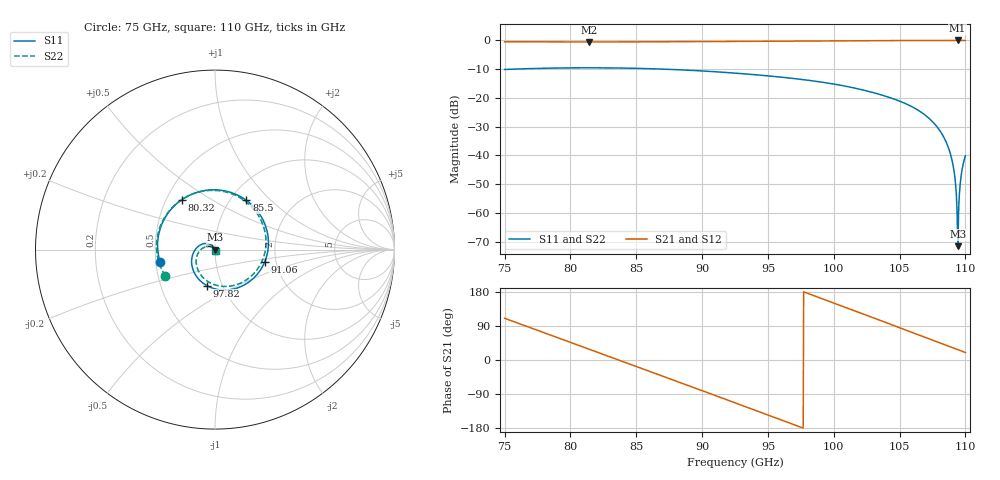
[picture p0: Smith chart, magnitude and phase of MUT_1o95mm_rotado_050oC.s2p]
! TOUCHSTONE file generated by CST MICROWAVE STUDIO
! Date and time: Wed Feb 14 23:05:58 2024
! Project name: material_rotado.cst
! Parameters = {angY=0.5}
! Header version: 2018
! Port assignment regex: !\s*Touchstone port\s*([0-9]+)\s*=\s*(CST MWS port|CST DS port)\s*([0-9]+|Zmin|Zmax)\s*\(\"(.*)\"\)(\s*mode\s*([0-9]+))?.*
! Touchstone port assignment:
! Touchstone port 1 = CST MWS port 1 ("")
! Touchstone port 2 = CST MWS port 2 ("")
# GHz S MA R 376.7
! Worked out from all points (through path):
!   1001 points, 75 GHz to 110 GHz, reference 376.7 ohm
!   highest |S21| = 0.00 dB at 109.4 GHz (marker M1); lowest = -0.5 dB at 81.41 GHz (marker M2)
!   group delay of S21, straight-line fit = 35.7 ps
!   lowest |S11| = -71.5 dB at 109.4 GHz (marker M3), VSWR 1.00, Z = 377 - j0.161 ohm
!   |S11| at or under -10 dB: start of sweep to 75.48 GHz; 87.23 GHz to end of sweep
!   |S22| runs from -67.4 to -9.5 dB; largest |S21 - S12| = 0
!   S11 on the Smith chart (normalised r, x): 75 GHz: 0.53, -0.08; 80.32 GHz: 0.60, +0.37; 85.5 GHz: 1.18, +0.73; 91.06 GHz: 1.74, -0.27; 97.82 GHz: 0.85, -0.36; 110 GHz: 1.00, -0.02
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75  0.3133 -167.7  0.9497 110.1  0.9497 110.1  0.3133 -152.2
77.625  0.327 158.8  0.9452 76.8  0.9452 76.8  0.327 174.9
80.32  0.334 123.9  0.9425 42.3  0.9425 42.3  0.334 140.6
80.845  0.3344 117.2  0.9423 35.6  0.9423 35.6  0.3344 134.0
81.405  0.3346 109.9  0.9423 28.5  0.9423 28.5  0.3346 126.9
85.5  0.3254 57.4  0.9456 -23.5  0.9456 -23.5  0.3254 75.5
86.69  0.3194 42.2  0.9477 -38.7  0.9477 -38.7  0.3194 60.6
91.065  0.2851 -14.3  0.9586 -94.5  0.9586 -94.5  0.2851 5.3
92.5  0.2704 -32.9  0.9627 -112.9  0.9627 -112.9  0.2704 -13.0
95.335  0.2382 -69.8  0.9712 -149.4  0.9712 -149.4  0.2382 -49.1
97.82  0.2064 -102.1  0.9785 178.5  0.9785 178.5  0.2064 -80.8
98.345  0.1992 -108.9  0.98 171.8  0.98 171.8  0.1992 -87.5
100.9  0.1601 -142.2  0.9862 138.7  0.9862 138.7  0.1601 -120.5
104.19  0.1028 174.7  0.9946 95.8  0.9946 95.8  0.1029 -163.3
106.605  0.05728 143.3  0.9984 64.3  0.9984 64.3  0.05723 165.5
108.145  0.02521 122.6  0.9997 44.2  0.9997 44.2  0.02533 144.6
108.95  0.008932 111.9  1 33.7  1 33.7  0.008946 135.0
109.405  0.0003932 94.1  1 27.7  1 27.7  0.0004637 169.2
109.44  0.0002646 -54.0  1 27.2  1 27.2  0.0004242 -100.2
109.545  0.002127 -72.3  1 25.8  1 25.8  0.002188 -62.6
109.755  0.005774 -76.1  1 23.0  1 23.0  0.005812 -60.0
110  0.009853 -79.1  1 19.7  1 19.7  0.009853 -61.4
